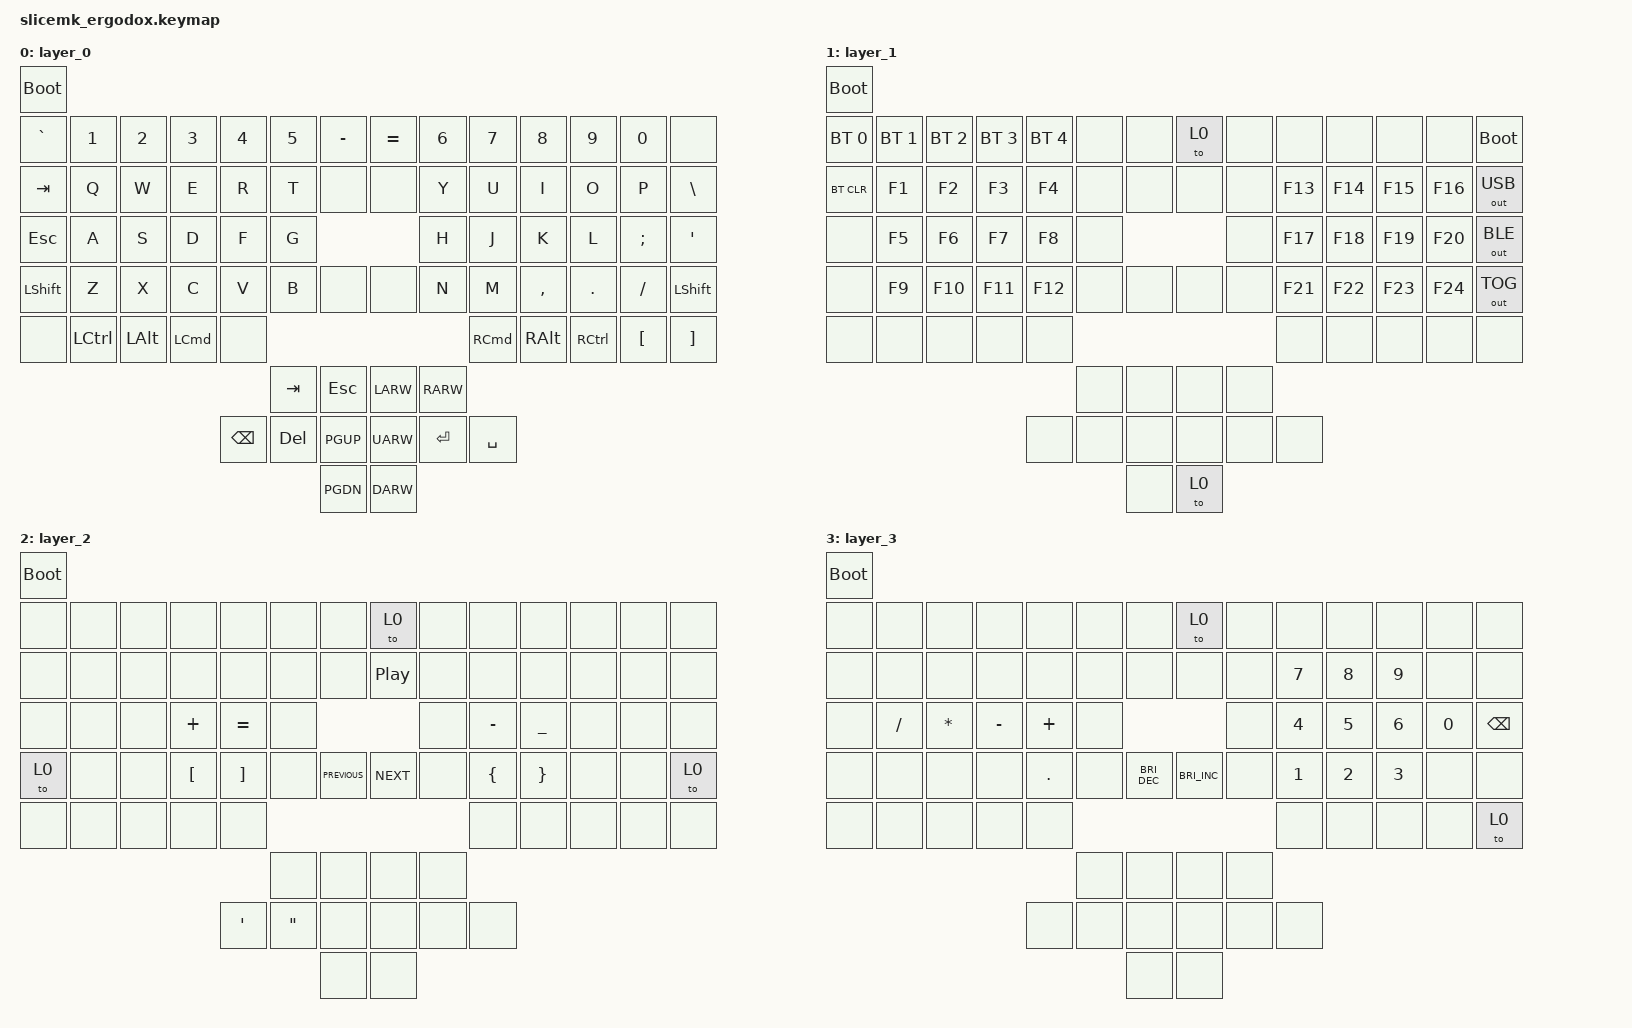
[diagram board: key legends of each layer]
#include <behaviors.dtsi>
#include <dt-bindings/zmk/bt.h>
#include <dt-bindings/zmk/keys.h>
#include <dt-bindings/zmk/outputs.h>

/ {
	keymap {
		compatible = "zmk,keymap";
		layer_0 {
			bindings = <
				&bootloader
				&kp GRAV &kp NUMBER_1 &kp NUMBER_2 &kp NUMBER_3 &kp NUMBER_4 &kp NUMBER_5 &kp MINUS   		&kp EQUAL &kp NUMBER_6 &kp NUMBER_7 &kp NUMBER_8 &kp NUMBER_9 &kp NUMBER_0      &none
				&kp TAB  &kp Q        &kp W        &kp E        &kp R        &kp T        &none   			&none &kp Y        &kp U        &kp I        &kp O        &kp P         		&kp BSLH
				&kp ESC  &kp A        &kp S        &kp D        &kp F        &kp G                                &kp H        &kp J        &kp K        &kp L        &kp SEMICOLON 		&kp SINGLE_QUOTE
				&kp LSHFT &kp Z       &kp X        &kp C        &kp V        &kp B        &none 			&none &kp N        &kp M        &kp CMMA     &kp DOT      &kp FSLH      		&kp LSHFT
				&none    &kp LCTRL	  &kp LALT 	   &kp LEFT_COMMAND  &none                                                     &kp RIGHT_COMMAND &kp RALT  &kp RCTRL  &kp LEFT_BRACKET 	    &kp RIGHT_BRACKET
				                                                             &kp TAB  	&kp ESC   			&kp LARW   &kp RARW
				                                                &kp BSPC     &kp DEL    &kp PGUP     		&kp UARW   &kp RET  &kp SPC
				                                                                        &kp PGDN			&kp DARW
			>;
		};
		layer_1 {
			bindings = <
				&bootloader
				&bt BT_SEL 0 &bt BT_SEL 1 &bt BT_SEL 2 &bt BT_SEL 3 &bt BT_SEL 4 &none &none &to 0 &none &none   &none   &none   &none   &bootloader
				&bt BT_CLR   &kp F1       &kp F2       &kp F3       &kp F4       &none &none &none &none &kp F13 &kp F14 &kp F15 &kp F16 &out OUT_USB
				&none        &kp F5       &kp F6       &kp F7       &kp F8       &none             &none &kp F17 &kp F18 &kp F19 &kp F20 &out OUT_BLE
				&none        &kp F9       &kp F10      &kp F11      &kp F12      &none &none &none &none &kp F21 &kp F22 &kp F23 &kp F24 &out OUT_TOG
				&none        &none        &none        &none        &none                                &none   &none   &none   &none   &none
				                                                                 &none &none &none &none
				                                                    &none        &none &none &none &none &none
				                                                                       &none &to 0
			>;
		};
		layer_2 {
			bindings = <
				&bootloader
				&none &none &none &none    &none            &none             &none          &to 0            &none &none          &none           &none &none &none
				&none &none &none &none    &none            &none             &none          &kp C_PLAY_PAUSE &none &none          &none           &none &none &none
				&none &none &none &kp PLUS &kp EQUAL        &none                                             &none &kp MINUS      &kp UNDERSCORE  &none &none &none
				&to 0 &none &none &kp LBKT &kp RBKT         &none             &kp C_PREVIOUS &kp C_NEXT       &none &kp LEFT_BRACE &kp RIGHT_BRACE &none &none &to 0
				&none &none &none &none    &none                                                                    &none          &none           &none &none &none
				                                            &none             &none          &none            &none
				                           &kp SINGLE_QUOTE &kp DOUBLE_QUOTES &none          &none            &none &none
				                                                              &none          &none
			>;
		};
		layer_3 {
			bindings = <
				&bootloader
				&none &none     &none        &none     &none    &none &none                &to 0                &none &none        &none        &none        &none        &none
				&none &none     &none        &none     &none    &none &none                &none                &none &kp NUMBER_7 &kp NUMBER_8 &kp NUMBER_9 &none        &none
				&none &kp SLASH &kp ASTERISK &kp MINUS &kp PLUS &none                                           &none &kp NUMBER_4 &kp NUMBER_5 &kp NUMBER_6 &kp NUMBER_0 &kp BACKSPACE
				&none &none     &none        &none     &kp DOT  &none &kp C_BRIGHTNESS_DEC &kp C_BRIGHTNESS_INC &none &kp NUMBER_1 &kp NUMBER_2 &kp NUMBER_3 &none        &none
				&none &none     &none        &none     &none                                                          &none        &none        &none        &none        &to 0
				                                                &none &none                &none                &none
				                                       &none    &none &none                &none                &none &none
				                                                      &none                &none
			>;
		};
	};
};
